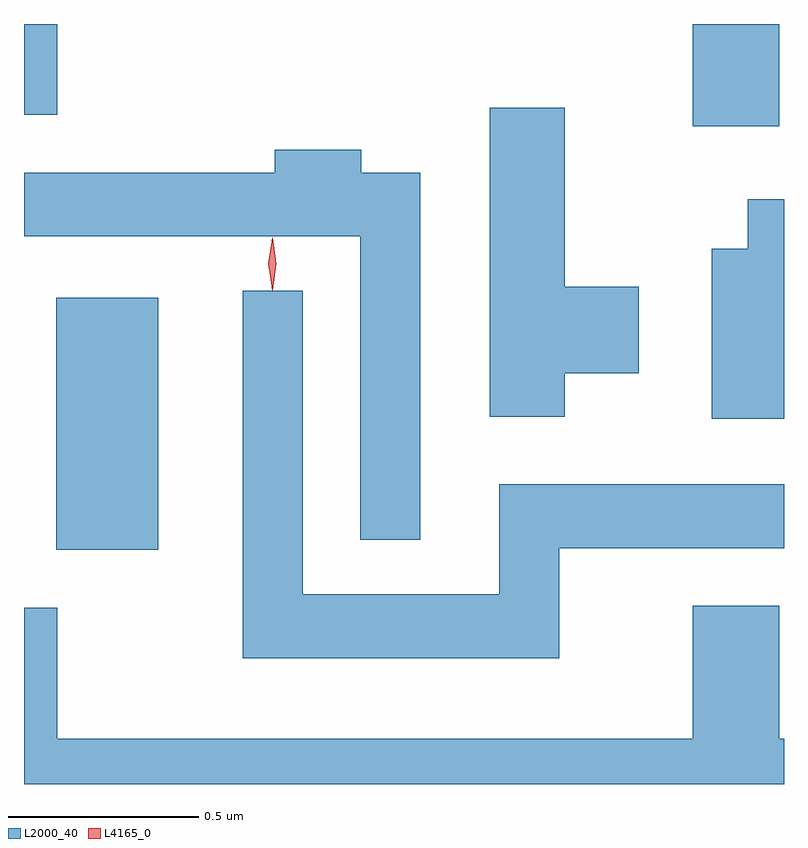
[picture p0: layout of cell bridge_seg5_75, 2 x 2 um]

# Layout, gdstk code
import gdstk
lib = gdstk.Library(unit=1e-6, precision=1e-09)
def R(c, l, rs):  # rectangles x0, y0, x1, y1
    for r in rs: c.add(gdstk.rectangle(r[:2], r[2:], *l))
def P(c, l, *ps):  # polygons
    for p in ps: c.add(gdstk.Polygon(p, *l))
L2000_40 = (2000, 40)
L4165_0 = (4165, 0)

bridge_seg5_75 = lib.new_cell('bridge_seg5_75')
R(bridge_seg5_75, L2000_40, [(1301.956,1470.881,1302.224,1471.544), (1303.631,1471.996,1303.859,1472.265), (1301.871,1472.026,1301.959,1472.265)])
P(bridge_seg5_75, L2000_40, [(1303.294,1471.346),(1303.489,1471.346),(1303.489,1471.574),(1303.294,1471.574),(1303.294,1472.044),(1303.096,1472.044),(1303.096,1471.231),(1303.294,1471.231)],
  [(1302.914,1471.874),(1302.759,1471.874),(1302.759,1471.934),(1302.531,1471.934),(1302.531,1471.874),(1301.871,1471.874),(1301.871,1471.706),(1302.756,1471.706),(1302.756,1470.908),(1302.914,1470.908)],
  [(1303.871,1471.804),(1303.776,1471.804),(1303.776,1471.674),(1303.681,1471.674),(1303.681,1471.226),(1303.871,1471.226)],
  [(1303.279,1470.886),(1303.871,1470.886),(1303.871,1471.054),(1303.121,1471.054),(1303.121,1470.764),(1302.604,1470.764),(1302.604,1471.563),(1302.446,1471.563),(1302.446,1470.596),(1303.279,1470.596)],
  [(1303.871,1470.384),(1303.859,1470.384),(1303.859,1470.734),(1303.631,1470.734),(1303.631,1470.384),(1301.959,1470.384),(1301.959,1470.729),(1301.871,1470.729),(1301.871,1470.265),(1303.871,1470.265)])
P(bridge_seg5_75, L4165_0, [(1302.524,1471.564),(1302.515,1471.634),(1302.524,1471.702),(1302.525,1471.703),(1302.525,1471.702),(1302.535,1471.634),(1302.525,1471.564),(1302.525,1471.564)],
  [(1302.524,1471.567),(1302.524,1471.568),(1302.514,1471.634),(1302.524,1471.7),(1302.524,1471.7),(1302.525,1471.7),(1302.534,1471.634),(1302.525,1471.568)])

lib.write_gds('bridge_seg5_75.gds')
